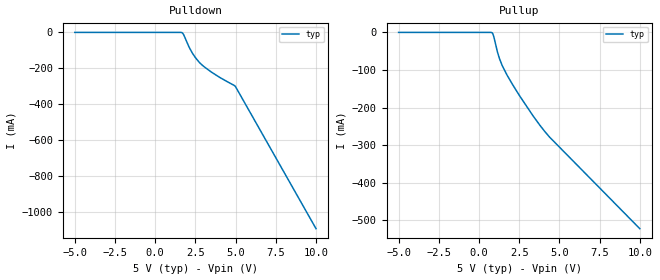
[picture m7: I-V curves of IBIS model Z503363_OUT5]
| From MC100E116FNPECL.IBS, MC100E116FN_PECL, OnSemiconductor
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| (C) COPYRIGHT 1993-2000
| MENTOR GRAPHICS CORPORATION
| ICX STANDARD LIBRARY, ICX PROJECT MODELING,
| ICX CUSTOM MODELING, ICX VENDOR MODEL
| ALL RIGHTS RESERVED.
| THE FOLLOWING ARE TRADEMARKS OR SERVICE MARKS OF
| MENTOR GRAPHICS CORPORATION:ICX (R), ICX STANDARD
| LIBRARY(R), ICX PROJECT MODELING(R), ICX CUSTOM
| MODELING(R), qualityIBIS(TM), MODELVIEWER(TM),
| AND MODELEDITOR(TM)
| ALL COPIES OF SOFTWARE, INCLUDING BUT NOT LIMITED TO
| ANY MODIFICATIONS, ENHANCEMENTS OR DERIVATIVE WORKS,
| MUST CONTAIN ALL MENTOR GRAPHICS CORPORATION'S
| NOTICES AND LEGENDS, INCLUDING THOSE EMBEDDED IN
| SOFTWARE AND THOSE AFFIXED TO SOFTWARE MEDIUM
| AND CONTAINER, AS RECEIVED FROM MENTOR GRAPHICS
| CORPORATION.
| Model Application Version 1.89 2/18/99.
[Model] Z503363_OUT5
Model_type Output_ECL
Vref=3.000V
Rref=50.00ohms
Cref=0.000F
Vmeas=3.677V
C_comp 8.000pF NA NA
| variable typ   min   max
[Voltage Range] 5.000V NA NA
[POWER Clamp Reference] 5.000V NA NA
[Pullup Reference] 5.000V NA NA
[Pulldown Reference] 5.000V NA NA
[GND Clamp Reference] 0.000V NA NA
[GND Clamp]
-5V       0A         NA         NA
10V       0A         NA         NA
[Pulldown]
-5V       0A         NA         NA
1.674V    -1.8mA     NA         NA
1.776V    -14.1mA    NA         NA
2.1V      -81mA      NA         NA
2.303V    -114.5mA   NA         NA
2.75V     -168.1mA   NA         NA
3.5V      -221.6mA   NA         NA
4.981V    -300.4mA   NA         NA
10V       -1.094A    NA         NA
[Pullup]
-5V       0A         NA         NA
827mV     -1.4mA     NA         NA
929mV     -12.4mA    NA         NA
1.152V    -52.8mA    NA         NA
1.273V    -69.5mA    NA         NA
1.436V    -87.5mA    NA         NA
1.76V     -114.8mA   NA         NA
2.531V    -169mA     NA         NA
3.81V     -248.3mA   NA         NA
4.378V    -278mA     NA         NA
10V       -522.2mA   NA         NA
[POWER Clamp]
-5V       0A         NA         NA
10V       0A         NA         NA
[Ramp]
| variable typ min max
dV/dt_r 494.7m/229.6p NA NA
dV/dt_f 494.7m/165.7p NA NA
R_load = 500.0Ohms
